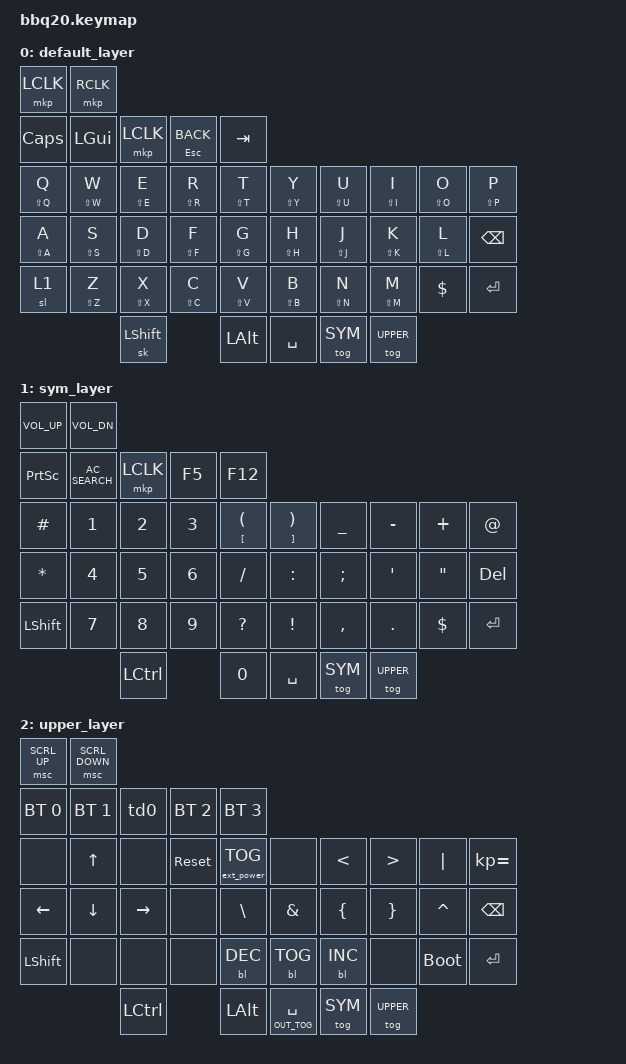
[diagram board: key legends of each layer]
/*
 * Copyright (c) 2023 ZitaoTech
 *
 * SPDX-License-Identifier: MIT
 */

#include <behaviors.dtsi>
#include <dt-bindings/zmk/backlight.h>
#include <dt-bindings/zmk/bt.h>
#include <dt-bindings/zmk/ext_power.h>
#include <dt-bindings/zmk/keys.h>
#include <dt-bindings/zmk/mouse.h>
#include <dt-bindings/zmk/outputs.h>

#define SYM 1
#define UPPER 2

&mt { tapping-term-ms = <350>; };

/ {
    behaviors {
        td0: tap_dance_0 {
            compatible = "zmk,behavior-tap-dance";
            #binding-cells = <0>;
            tapping-term-ms = <400>;
            bindings = <&mkp LCLK>, <&bt BT_CLR>;
        };
    };

    behaviors {
        hm: homerow_mods {
            compatible = "zmk,behavior-hold-tap";
            #binding-cells = <2>;
            tapping-term-ms = <500>;
            bindings = <&out &kp>;
        };
    };

    keymap {
        compatible = "zmk,keymap";

        default_layer {
            bindings = <
&mkp LCLK    &mkp RCLK
&kp CLCK     &kp LGUI     &mkp LCLK    &mt ESC K_BACK  &kp TAB
&mt LS(Q) Q  &mt LS(W) W  &mt LS(E) E  &mt LS(R) R     &mt LS(T) T  &mt LS(Y) Y    &mt LS(U) U  &mt LS(I) I  &mt LS(O) O  &mt LS(P) P
&mt LS(A) A  &mt LS(S) S  &mt LS(D) D  &mt LS(F) F     &mt LS(G) G  &mt LS(H) H    &mt LS(J) J  &mt LS(K) K  &mt LS(L) L  &kp BSPC
&sl 1        &mt LS(Z) Z  &mt LS(X) X  &mt LS(C) C     &mt LS(V) V  &mt LS(B) B    &mt LS(N) N  &mt LS(M) M  &kp DOLLAR   &kp ENTER
                          &sk LSHFT                    &kp LALT     &kp SPACE      &tog SYM     &tog UPPER
            >;
        };

        sym_layer {
            bindings = <
&kp C_VOL_UP  &kp C_VOL_DN
&kp PSCRN     &kp C_AC_SEARCH  &mkp LCLK  &kp F5  &kp F12
&kp HASH      &kp N1           &kp N2     &kp N3  &mt LBKT LPAR  &mt RBKT RPAR    &kp UNDER  &kp MINUS   &kp PLUS    &kp AT
&kp STAR      &kp N4           &kp N5     &kp N6  &kp SLASH      &kp COLON        &kp SEMI   &kp APOS    &kp DQT     &kp DEL
&kp LSHFT     &kp N7           &kp N8     &kp N9  &kp QMARK      &kp EXCL         &kp COMMA  &kp DOT     &kp DOLLAR  &kp ENTER
                               &kp LCTRL          &kp N0         &kp SPACE        &tog SYM   &tog UPPER
            >;
        };

        upper_layer {
            bindings = <
&msc SCRL_UP  &msc SCRL_DOWN
&bt BT_SEL 0  &bt BT_SEL 1    &td0       &bt BT_SEL 2  &bt BT_SEL 3
&none         &kp UP          &none      &sys_reset    &ext_power EP_TOG  &none                &kp LT      &kp GT      &kp PIPE     &kp KP_EQUAL
&kp LEFT      &kp DOWN        &kp RIGHT  &none         &kp BSLH           &kp AMPS             &kp LBRC    &kp RBRC    &kp CARET    &kp BSPC
&kp LSHFT     &none           &none      &none         &bl BL_DEC         &bl BL_TOG           &bl BL_INC  &none       &bootloader  &kp ENTER
                              &kp LCTRL                &kp LALT           &hm OUT_TOG SPACE    &tog SYM    &tog UPPER
            >;
        };
    };
};
